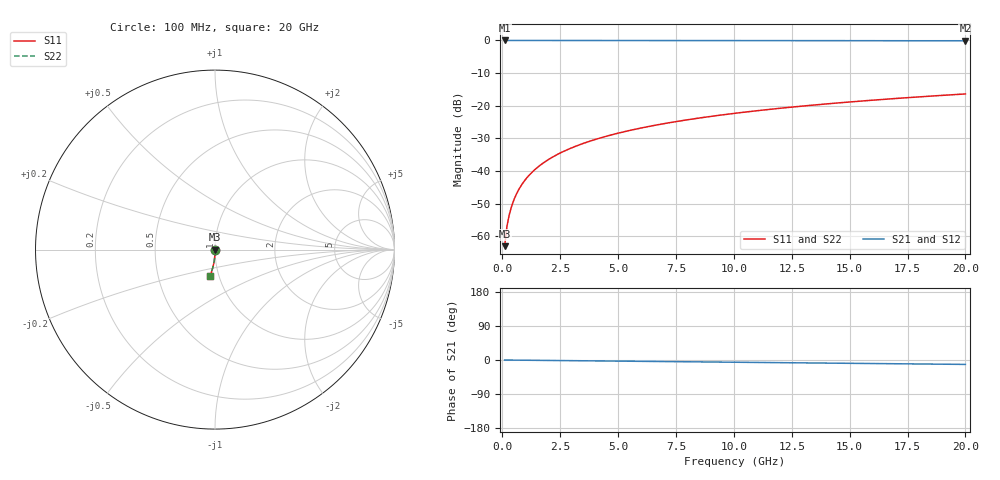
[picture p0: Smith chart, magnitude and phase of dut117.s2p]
! Touchstone file exported from HFSS 2026.1.0
!  File:  C:/ffzhzh/LocalFiles/Ansys_Project_Files/temp_train_TSV_117_1782989885_40604.aedt
!  Generated:  06:59:21 PM Jul  2, 2026
!  Design:  TSV
!  Project:  temp_train_TSV_117_1782989885_40604
! Variables:
!  h_bsmrdl = 2um
!  h_ox = 20um
!  h_rdl = 5um
!  h_sub = 82.89um
!  h_tmrdl = 5um
!  h_tsv = 82.89um
!  h_via = 3um
!  l_bsmrdl = 300um
!  l_sub = 428.14um
!  l_tmrdl = 200um
!  m_sub = 200um
!  pitch = 31.53um
!  r_tsv = 14.07um
!  s_tmrdl = 10um
!  w_bsmrdl = 18um
!  w_sub = 500um
!  w_tmrdl = 12um
!  x_tsv_center1 = 206um
!  x_tsv_center2 = 524um
!  x_tsv_center3 = 736um
!  x_tsv_center4 = 1054um
!  x_tsv_center5 = 1266um
!  x_tsv_center6 = 1584um
# GHz S MA R 50.000000
! Terminal data exported
! Port[1] = TSV1_1_T1
! Port[2] = TSV1_1_T2
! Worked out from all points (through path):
!   200 points, 100 MHz to 20 GHz, reference 50 ohm
!   highest |S21| = 0.00 dB at 100 MHz (marker M1); lowest = -0.1 dB at 20 GHz (marker M2)
!   group delay of S21, straight-line fit = 1.61 ps
!   lowest |S11| = -63.0 dB at 100 MHz (marker M3), VSWR 1.00, Z = 50 - j0.0704 ohm
!   |S11| at or under -10 dB: start of sweep to end of sweep
!   |S22| runs from -63.0 to -16.4 dB; largest |S21 - S12| = 3.2e-15
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0.1  0.0007109 -82.1  0.9999 -0.1  0.9999 -0.1  0.0007109 -82.1
! Gamma 0 0 0 0
! Port Impedance 50 0 50 0
0.2  0.001421 -85.2  0.9999 -0.1  0.9999 -0.1  0.001421 -85.2
0.3  0.002144 -86.0  0.9998 -0.2  0.9998 -0.2  0.002144 -86.0
0.4  0.00288 -86.4  0.9998 -0.2  0.9998 -0.2  0.00288 -86.4
0.5  0.003627 -86.6  0.9998 -0.3  0.9998 -0.3  0.003627 -86.6
0.7  0.005142 -87.1  0.9997 -0.4  0.9997 -0.4  0.005142 -87.1
0.8  0.005905 -87.3  0.9997 -0.5  0.9997 -0.5  0.005905 -87.3
1  0.007437 -87.8  0.9996 -0.6  0.9996 -0.6  0.007437 -87.8
1.2  0.00897 -88.2  0.9996 -0.7  0.9996 -0.7  0.00897 -88.2
1.4  0.0105 -88.5  0.9995 -0.8  0.9995 -0.8  0.0105 -88.5
1.7  0.0128 -88.9  0.9995 -1.0  0.9995 -1.0  0.0128 -88.9
2  0.0151 -89.3  0.9994 -1.2  0.9994 -1.2  0.0151 -89.3
2.7  0.02046 -90.0  0.9992 -1.6  0.9992 -1.6  0.02046 -90.0
3.5  0.02659 -90.7  0.999 -2.1  0.999 -2.1  0.02659 -90.7
4.2  0.03196 -91.2  0.9988 -2.5  0.9988 -2.5  0.03196 -91.2
5  0.0381 -91.8  0.9985 -2.9  0.9985 -2.9  0.0381 -91.8
6.8  0.05192 -93.0  0.9977 -4.0  0.9977 -4.0  0.05192 -93.0
8.3  0.06343 -93.9  0.997 -4.9  0.997 -4.9  0.06343 -93.9
10.1  0.07721 -95.1  0.9959 -5.9  0.9959 -5.9  0.07721 -95.1
13.4  0.1023 -97.1  0.9934 -7.8  0.9934 -7.8  0.1023 -97.1
16.7  0.1272 -99.1  0.9904 -9.7  0.9904 -9.7  0.1272 -99.1
20  0.1519 -101.0  0.9867 -11.6  0.9867 -11.6  0.1519 -101.0
